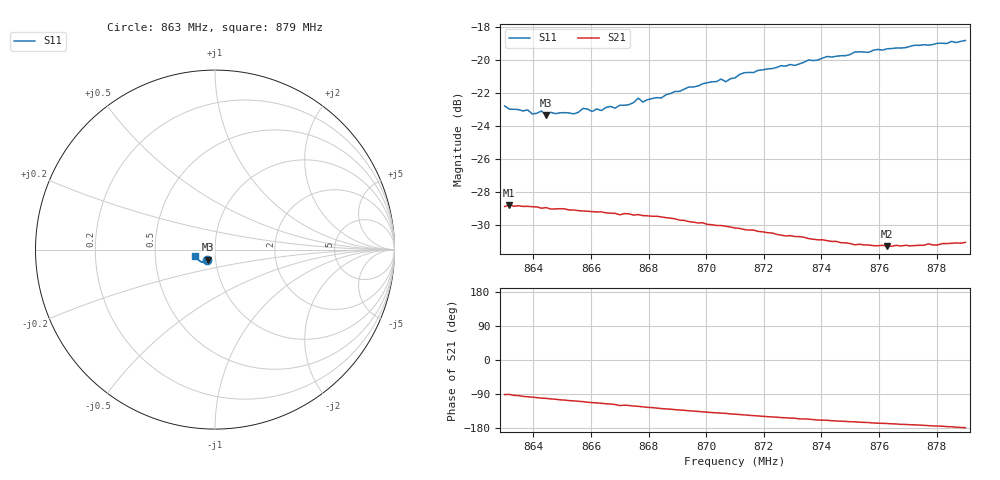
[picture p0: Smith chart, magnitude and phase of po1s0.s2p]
# HZ S RI R 50
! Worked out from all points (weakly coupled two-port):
!   101 points, 863 MHz to 879 MHz, reference 50 ohm
!   highest |S21| = -28.80 dB at 863.16 MHz (marker M1); lowest = -31.3 dB at 876.28 MHz (marker M2)
!   lowest |S11| = -23.3 dB at 864.44 MHz (marker M3), VSWR 1.15, Z = 46 - j5.21 ohm
!   |S11| at or under -10 dB: start of sweep to end of sweep
!   S12 and S22 are empty: the file has one direction only
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8.63e8  -0.0453 -0.0568  -0.000823 -0.036  0 0  0 0
8.6316e8  -0.0413 -0.0578  -0.000481 -0.0363  0 0  0 0
8.638e8  -0.0418 -0.057  -0.00444 -0.0357  0 0  0 0
8.6396e8  -0.0399 -0.0559  -0.00504 -0.0356  0 0  0 0
8.6428e8  -0.0398 -0.0577  -0.0065 -0.0349  0 0  0 0
8.6444e8  -0.0385 -0.0563  -0.00697 -0.035  0 0  0 0
8.646e8  -0.0391 -0.0575  -0.00772 -0.0345  0 0  0 0
8.654e8  -0.0373 -0.0578  -0.0107 -0.0334  0 0  0 0
8.6572e8  -0.0378 -0.0606  -0.0118 -0.0328  0 0  0 0
8.6636e8  -0.0379 -0.0593  -0.0142 -0.0316  0 0  0 0
8.6652e8  -0.0366 -0.0619  -0.0148 -0.0311  0 0  0 0
8.6732e8  -0.0371 -0.0632  -0.0171 -0.0296  0 0  0 0
8.6764e8  -0.0394 -0.0658  -0.0182 -0.0287  0 0  0 0
8.678e8  -0.0383 -0.0641  -0.0186 -0.0281  0 0  0 0
8.6844e8  -0.0389 -0.0662  -0.0207 -0.0263  0 0  0 0
8.694e8  -0.0444 -0.07  -0.0225 -0.0233  0 0  0 0
8.71e8  -0.0515 -0.0718  -0.0247 -0.0187  0 0  0 0
8.7132e8  -0.0544 -0.0736  -0.025 -0.0177  0 0  0 0
8.7372e8  -0.0706 -0.0705  -0.0264 -0.0111  0 0  0 0
8.7628e8  -0.0912 -0.0584  -0.0266 -0.00584  0 0  0 0
8.7644e8  -0.0924 -0.0569  -0.0267 -0.0055  0 0  0 0
8.79e8  -0.109 -0.0361  -0.028 -0.000701  0 0  0 0
